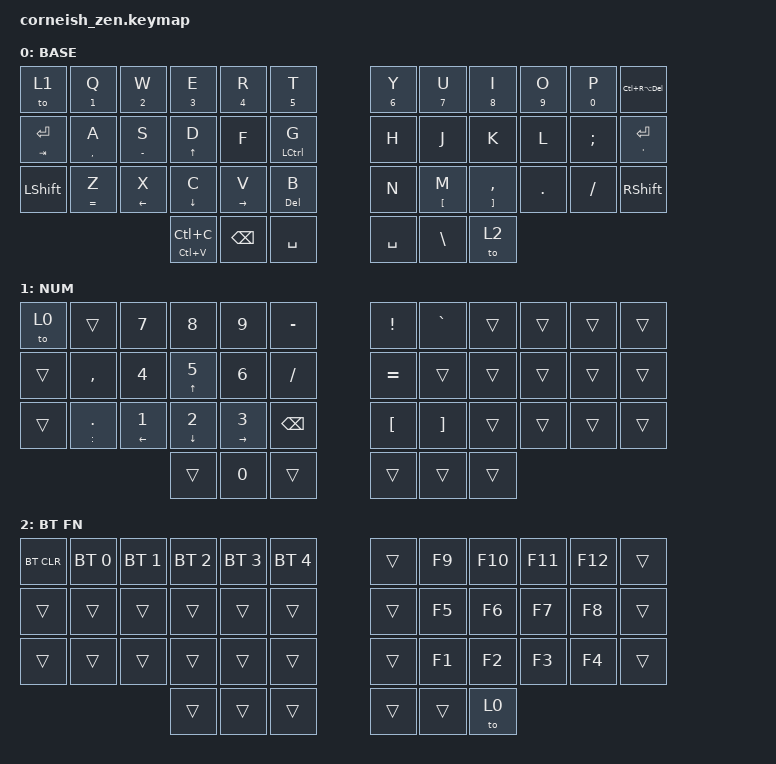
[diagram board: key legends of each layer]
#include <behaviors.dtsi>
#include <dt-bindings/zmk/bt.h>
#include <dt-bindings/zmk/keys.h>

/ {
    chosen {
        zmk,matrix_transform = &default_transform;

        //zmk,matrix_transform = &five_column_transform;
    };
};

/ {
    behaviors {
        hm: homerow_mods {
            compatible = "zmk,behavior-hold-tap";
            label = "HOMEROW_MODS";
            #binding-cells = <2>;
            tapping-term-ms = <175>;
            flavor = "tap-preferred";
            quick-tap-ms = <125>;
            global-quick-tap;
            bindings = <&kp>, <&kp>;
        };
    };

    combos {
        compatible = "zmk,combos";

        combo_capslock {
            timeout-ms = <50>;
            key-positions = <16 37>;
            bindings = <&kp CAPS>;
        };

        combo_q {
            timeout-ms = <50>;
            key-positions = <14 37>;
            bindings = <&kp Q>;
        };

        combo_j {
            timeout-ms = <50>;
            key-positions = <14 16>;
            bindings = <&kp J>;
        };

        combo_n {
            bindings = <&kp N>;
            key-positions = <16 15>;
        };
    };

    keymap {
        compatible = "zmk,keymap";

        default_layer {
            label = "BASE";

            // -----------------------------------------------------------------------------------------
            // |  layer1 |  Q N1  |  W N2 |  E N3  |  R N4  |  T N5  |      |  Y N6  |  U N7 |  I N8  |  O N9  |  P N0  | LC(RA(DEL)) |
            // | TAB ENTER |  A ,  |  S -  |  D  UP ARROW |  F  |  G LCTRL  |       |  H  |  J   |  K  |  L  |  ;  |  enter '   |
            // | SHFT |  Z =  |  X LEFT ARROW  |  C DOWN ARROW  |  V RIGHT ARROW  |  B DEL  |       |  N  |  M L Bracket   |  , R Bracket  |  .  |  /  | RSHFT |
            //                    | copy paste | backspace | SPC |      | SPC | \ | layer2 |

            bindings = <
&to 1          &hm N1 Q     &hm N2 W          &hm N3 E          &hm N4 R           &hm N5 T       &hm N6 Y   &hm N7 U    &hm N8 I        &hm N9 O  &hm N0 P  &kp LC(RA(DEL))
&hm TAB ENTER  &hm COMMA A  &hm MINUS S       &hm UP_ARROW D    &kp F              &hm LCTRL G    &kp H      &kp J       &kp K           &kp L     &kp SEMI  &hm SQT ENTER
&kp LSHFT      &mt EQUAL Z  &hm LEFT_ARROW X  &hm DOWN_ARROW C  &hm RIGHT_ARROW V  &hm DEL B      &kp N      &hm LBKT M  &hm RBKT COMMA  &kp DOT   &kp FSLH  &kp RSHFT
                                              &hm LC(V) LC(C)   &kp BACKSPACE      &kp SPACE      &kp SPACE  &kp BSLH    &to 2
            >;
        };

        lower_layer {
            label = "NUM";

            // -----------------------------------------------------------------------------------------
            // |  layer0 |  N  |  N7  |  N8  |  N9  |  -  |         |  !  |  `  |  trans  |  trans  |  trans  | trans |
            // | trans| , | N4 | N5 UP ARROW | N6 | / |        | = | trans |  trans | trans |   trans  |   trans   |
            // | trans | . :  |  N1 LT ARROW  | N2 DOWN ARROW |  N3 RT ARROW  | BACKSPACE |         |  LBKT   |   RBKT  |   trans  |  trans |   trans  |   trans   |
            //                    | trans | N0 | trans |      | trans | trans | trans |

            bindings = <
&to 0   &trans         &kp N7             &kp N8             &kp N9              &kp MINUS        &kp EXCL   &kp GRAVE  &trans  &trans  &trans  &trans
&trans  &kp COMMA      &kp N4             &hm UP_ARROW N5    &kp N6              &kp FSLH         &kp EQUAL  &trans     &trans  &trans  &trans  &trans
&trans  &hm COLON DOT  &hm LEFT_ARROW N1  &hm DOWN_ARROW N2  &hm RIGHT_ARROW N3  &kp BACKSPACE    &kp LBKT   &kp RBKT   &trans  &trans  &trans  &trans
                                          &trans             &kp N0              &trans           &trans     &trans     &trans
            >;
        };

        raise_layer {
            label = "BT FN";

            // -----------------------------------------------------------------------------------------
            // |  &bt BT_CLR |  &bt BT_SEL 0  |  &bt BT_SEL 1  |  &bt BT_SEL 2  |  &bt BT_SEL 3  |  &bt BT_SEL 4  |        |  trans  |  F9  |  F10  |  F11  |  F12  | trans |
            // | trans |  trans   |  trans   |  trans   |   trans  |  trans   |      |  trans  |  F5  |  F6  |  F7  |  F8  |  trans   |
            // | trans |  trans   |  trans   |  trans  |  trans   |  trans   |       |  trans  |  F1  |  F2  |  F3  | F4 |  trans  |
            //                    | trans |  trans   | trans |      | trans |  trans   | layer0 |

            bindings = <
&bt BT_CLR  &bt BT_SEL 0  &bt BT_SEL 1  &bt BT_SEL 2  &bt BT_SEL 3  &bt BT_SEL 4    &trans  &kp F9  &kp F10  &kp F11  &kp F12  &trans
&trans      &trans        &trans        &trans        &trans        &trans          &trans  &kp F5  &kp F6   &kp F7   &kp F8   &trans
&trans      &trans        &trans        &trans        &trans        &trans          &trans  &kp F1  &kp F2   &kp F3   &kp F4   &trans
                                        &trans        &trans        &trans          &trans  &trans  &to 0
            >;
        };
    };
};
